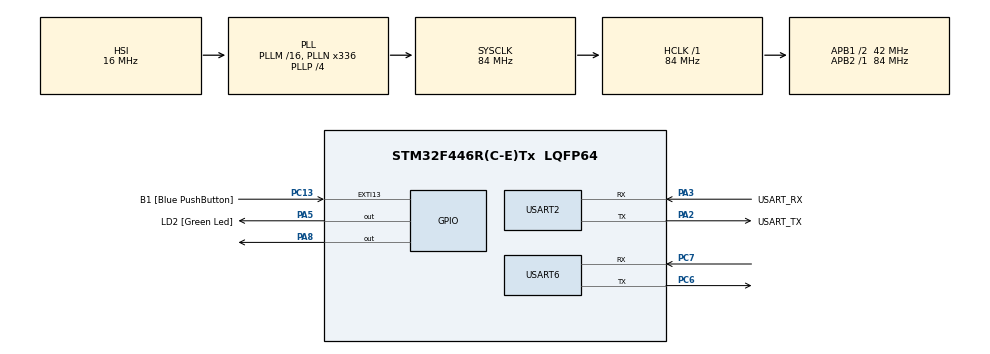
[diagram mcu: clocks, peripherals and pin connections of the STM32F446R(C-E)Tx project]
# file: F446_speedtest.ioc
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Mcu.Family=STM32F4
Mcu.Name=STM32F446R(C-E)Tx
Mcu.Package=LQFP64
NVIC.PriorityGroup=NVIC_PRIORITYGROUP_0
PA13.GPIO_Label=TMS
PA13.Mode=Serial_Wire
PA13.Signal=SYS_JTMS-SWDIO
PA14.GPIO_Label=TCK
PA14.Mode=Serial_Wire
PA14.Signal=SYS_JTCK-SWCLK
PA2.GPIO_Label=USART_TX
PA2.Mode=Asynchronous
PA2.Signal=USART2_TX
PA3.GPIO_Label=USART_RX
PA3.Mode=Asynchronous
PA3.Signal=USART2_RX
PA5.GPIO_Label=LD2 [Green Led]
PA5.Signal=GPIO_Output
PA8.Signal=GPIO_Output
PB3.GPIO_Label=SWO
PB3.Signal=SYS_JTDO-SWO
PC13.GPIO_Label=B1 [Blue PushButton]
PC13.GPIO_ModeDefaultEXTI=GPIO_MODE_IT_FALLING
PC13.Signal=GPXTI13
PC14-OSC32_IN.Mode=LSE-External-Oscillator
PC14-OSC32_IN.Signal=RCC_OSC32_IN
PC15-OSC32_OUT.Mode=LSE-External-Oscillator
PC15-OSC32_OUT.Signal=RCC_OSC32_OUT
PC6.Mode=Asynchronous
PC6.Signal=USART6_TX
PC7.Mode=Asynchronous
PC7.Signal=USART6_RX
PH0-OSC_IN.Mode=HSE-External-Oscillator
PH0-OSC_IN.Signal=RCC_OSC_IN
PH1-OSC_OUT.Mode=HSE-External-Oscillator
PH1-OSC_OUT.Signal=RCC_OSC_OUT
ProjectManager.HeapSize=0x200
ProjectManager.StackSize=0x400
ProjectManager.TargetToolchain=STM32CubeIDE
RCC.48MHZClocksFreq_Value=84000000
RCC.AHBFreq_Value=84000000
RCC.APB1CLKDivider=RCC_HCLK_DIV2
RCC.APB1Freq_Value=42000000
RCC.APB1TimFreq_Value=84000000
RCC.APB2Freq_Value=84000000
RCC.APB2TimFreq_Value=84000000
RCC.CortexFreq_Value=84000000
RCC.FLatency-AdvancedSettings=FLASH_LATENCY_2
RCC.HCLKFreq_Value=84000000
RCC.HSE_VALUE=8000000
RCC.HSI_VALUE=16000000
RCC.PLLN=336
RCC.PLLP=RCC_PLLP_DIV4
RCC.SYSCLKFreq_VALUE=84000000
RCC.SYSCLKSource=RCC_SYSCLKSOURCE_PLLCLK
RCC.USBFreq_Value=168000000
RCC.VCOOutputFreq_Value=336000000
USART2.VirtualMode=VM_ASYNC
USART6.VirtualMode=VM_ASYNC
board=NUCLEO-F446RE

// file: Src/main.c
/* USER CODE BEGIN Header */
/**
  ******************************************************************************
  * @file           : main.c
  * @brief          : Main program body
  ******************************************************************************
  * @attention
  *
  * <h2><center>&copy; Copyright (c) 2019 STMicroelectronics.
  * All rights reserved.</center></h2>
  *
  * This software component is licensed by ST under BSD 3-Clause license,
  * the "License"; You may not use this file except in compliance with the
  * License. You may obtain a copy of the License at:
  *                        opensource.org/licenses/BSD-3-Clause
  *
  ******************************************************************************
  */
/* USER CODE END Header */

#include "main.h"

UART_HandleTypeDef huart2;
UART_HandleTypeDef huart6;

void SystemClock_Config(void);
static void MX_GPIO_Init(void);
static void MX_USART2_UART_Init(void);
static void MX_USART6_UART_Init(void);

int main(void)
{

  /* MCU Configuration--------------------------------------------------------*/

  /* Reset of all peripherals, Initializes the Flash interface and the Systick. */
  HAL_Init();

  /* Configure the system clock */
  SystemClock_Config();

  /* Initialize all configured peripherals */
  MX_GPIO_Init();
  MX_USART2_UART_Init();
  MX_USART6_UART_Init();
  /* USER CODE BEGIN 2 */

  uint8_t txdata[9] = {0};
  uint8_t txdata2[7] = {0};
  uint8_t rxdata[9] = {0};
  char txbuf[] ="\n\r hello world";
  short x;

  void pos(unsigned char id,short deg,unsigned short time)
  {
    unsigned char deg_l = (unsigned char)(deg)&0x00FF;
    unsigned char deg_h = (unsigned char)(deg>>8)&0x00FF;
    unsigned char time_l = (unsigned char)(time)&0x00FF;
    unsigned char time_h = (unsigned char)(time>>8)&0x00FF;
    unsigned char sum = (0x09+0x06+id+deg_l+deg_h+time_l+time_h)&0x00FF;

    txdata[0]=0x09;   //1 SIZE
    txdata[1]=0x06;   //2 COMMAND
    txdata[2]=0x00;   //3 OPTION
    txdata[3]=id;     //4 ID
    txdata[4]=deg_l;  //5 POS_L
    txdata[5]=deg_h;  //6 POS_H
    txdata[6]=time_l; //7 TIME_L
    txdata[7]=time_h; //8 TIME_H
    txdata[8]=sum;    //9 SUM
    HAL_Delay(0.03);

  }

  void write(unsigned char id,unsigned char data)
  {
      unsigned char sum = (0x08+0x04+0x00+id+data+0x28+0x01)&0x00FF;
     HAL_GPIO_WritePin(GPIOA, GPIO_PIN_8, 1);
     txdata[0]=0x08;   //1 SIZE
     txdata[1]=0x04;   //2 COMMAND
     txdata[2]=0x00;   //3 OPTION
     txdata[3]=id;     //4 ID
     txdata[4]=data;  //DATA
     txdata[5]=0x28;  //ADRESS
     txdata[6]=0x01; //COUNT
     txdata[7]=sum;    //9 SUM
     HAL_UART_Transmit(&huart6, txdata, 8, 0xFFFF);
     HAL_Delay(0.3);
     HAL_GPIO_WritePin(GPIOA, GPIO_PIN_8, 0);
  }

  void speed(unsigned char id,short speed)
  {
      unsigned char speed_l = (unsigned char)(speed)&0x00FF;
      unsigned char speed_h = (unsigned char)(speed>>8)&0x00FF;
      unsigned char sum = (0x09+0x04+0x00+id+speed_l+speed_h+0x30+0x01)&0x00FF;

      HAL_GPIO_WritePin(GPIOA, GPIO_PIN_8, 1);

      txdata[0]=0x09;//SIZE
      txdata[1]=0x04;//COMMAND
      txdata[2]=0x00;//OPTION
      txdata[3]=id;//ID
      txdata[4]=speed_l;//SPEED_LOWBYTE
      txdata[5]=speed_h;//SPEED_HIGHBYTE
      txdata[6]=0x30;//ADRESS(SPEED 0x03)
      txdata[7]=0x01;//COUNT
      txdata[8]=sum;//SUM
      HAL_Delay(0.3);
      HAL_UART_Transmit(&huart6, txdata, 9, 0xFFFF);
      HAL_Delay(0.3);
      HAL_GPIO_WritePin(GPIOA, GPIO_PIN_8, 0);
  }

  void gain(unsigned char id,unsigned char gain)
  {

      unsigned char sum = (0x08+0x04+id+gain+0x5C+0x01)&0x00FF;
      HAL_GPIO_WritePin(GPIOA, GPIO_PIN_8, 1);
      txdata[0]=0x08;   //1 SIZE
      txdata[1]=0x04;   //2 COMMAND
      txdata[2]=0x00;   //3 OPTION
      txdata[3]=id;     //4 ID
      txdata[4]=gain;  //DATA
      txdata[5]=0x5C;  //ADRESS
      txdata[6]=0x01; //COUNT
      txdata[7]=sum;    //9 SUM
      HAL_UART_Transmit(&huart6, txdata, 8, 0xFFFF);
      HAL_Delay(0.3);
      HAL_GPIO_WritePin(GPIOA, GPIO_PIN_8, 0);
  }

  /* USER CODE END 2 */

  /* Infinite loop */
  while (1)
  {

    /* USER CODE BEGIN 3 */
  write(0x02,0x04);
  write(0x08,0x04);
  speed(0x02,-5000);
  speed(0x08,5000);
	 // write(0xFF,0x02);
//	  write(0xFF,0x00);
//	  HAL_Delay(1000);

/*	  pos(0x04,3000,0);
	  HAL_GPIO_WritePin(GPIOA, GPIO_PIN_8, 1);
	  HAL_UART_Transmit(&huart6, txdata, 9, 0xFFFF);
	  HAL_Delay(100);
	  HAL_GPIO_WritePin(GPIOA, GPIO_PIN_8, 0);
	  HAL_Delay(1000);

	  pos(0x04,-3000,0);
	  HAL_GPIO_WritePin(GPIOA, GPIO_PIN_8, 1);
	  HAL_UART_Transmit(&huart6, txdata, 9, 0xFFFF);
	  HAL_Delay(100);
	  HAL_GPIO_WritePin(GPIOA, GPIO_PIN_8, 0);
	  HAL_Delay(1000);
*/
  }
  /* USER CODE END 3 */
}

void SystemClock_Config(void)
{
  RCC_OscInitTypeDef RCC_OscInitStruct = {0};
  RCC_ClkInitTypeDef RCC_ClkInitStruct = {0};

  /** Configure the main internal regulator output voltage
  */
  __HAL_RCC_PWR_CLK_ENABLE();
  __HAL_PWR_VOLTAGESCALING_CONFIG(PWR_REGULATOR_VOLTAGE_SCALE3);
  /** Initializes the CPU, AHB and APB busses clocks
  */
  RCC_OscInitStruct.OscillatorType = RCC_OSCILLATORTYPE_HSI;
  RCC_OscInitStruct.HSIState = RCC_HSI_ON;
  RCC_OscInitStruct.HSICalibrationValue = RCC_HSICALIBRATION_DEFAULT;
  RCC_OscInitStruct.PLL.PLLState = RCC_PLL_ON;
  RCC_OscInitStruct.PLL.PLLSource = RCC_PLLSOURCE_HSI;
  RCC_OscInitStruct.PLL.PLLM = 16;
  RCC_OscInitStruct.PLL.PLLN = 336;
  RCC_OscInitStruct.PLL.PLLP = RCC_PLLP_DIV4;
  RCC_OscInitStruct.PLL.PLLQ = 2;
  RCC_OscInitStruct.PLL.PLLR = 2;
  if (HAL_RCC_OscConfig(&RCC_OscInitStruct) != HAL_OK)
  {
    Error_Handler();
  }
  /** Initializes the CPU, AHB and APB busses clocks
  */
  RCC_ClkInitStruct.ClockType = RCC_CLOCKTYPE_HCLK|RCC_CLOCKTYPE_SYSCLK
                              |RCC_CLOCKTYPE_PCLK1|RCC_CLOCKTYPE_PCLK2;
  RCC_ClkInitStruct.SYSCLKSource = RCC_SYSCLKSOURCE_PLLCLK;
  RCC_ClkInitStruct.AHBCLKDivider = RCC_SYSCLK_DIV1;
  RCC_ClkInitStruct.APB1CLKDivider = RCC_HCLK_DIV2;
  RCC_ClkInitStruct.APB2CLKDivider = RCC_HCLK_DIV1;

  if (HAL_RCC_ClockConfig(&RCC_ClkInitStruct, FLASH_LATENCY_2) != HAL_OK)
  {
    Error_Handler();
  }
}

static void MX_USART2_UART_Init(void)
{

  huart2.Instance = USART2;
  huart2.Init.BaudRate = 115200;
  huart2.Init.WordLength = UART_WORDLENGTH_8B;
  huart2.Init.StopBits = UART_STOPBITS_1;
  huart2.Init.Parity = UART_PARITY_NONE;
  huart2.Init.Mode = UART_MODE_TX_RX;
  huart2.Init.HwFlowCtl = UART_HWCONTROL_NONE;
  huart2.Init.OverSampling = UART_OVERSAMPLING_16;
  if (HAL_UART_Init(&huart2) != HAL_OK)
  {
    Error_Handler();
  }

}

static void MX_USART6_UART_Init(void)
{

  huart6.Instance = USART6;
  huart6.Init.BaudRate = 115200;
  huart6.Init.WordLength = UART_WORDLENGTH_8B;
  huart6.Init.StopBits = UART_STOPBITS_1;
  huart6.Init.Parity = UART_PARITY_NONE;
  huart6.Init.Mode = UART_MODE_TX_RX;
  huart6.Init.HwFlowCtl = UART_HWCONTROL_NONE;
  huart6.Init.OverSampling = UART_OVERSAMPLING_16;
  if (HAL_UART_Init(&huart6) != HAL_OK)
  {
    Error_Handler();
  }

}

static void MX_GPIO_Init(void)
{
  GPIO_InitTypeDef GPIO_InitStruct = {0};

  /* GPIO Ports Clock Enable */
  __HAL_RCC_GPIOC_CLK_ENABLE();
  __HAL_RCC_GPIOH_CLK_ENABLE();
  __HAL_RCC_GPIOA_CLK_ENABLE();
  __HAL_RCC_GPIOB_CLK_ENABLE();

  /*Configure GPIO pin Output Level */
  HAL_GPIO_WritePin(GPIOA, LD2_Pin|GPIO_PIN_8, GPIO_PIN_RESET);

  /*Configure GPIO pin : B1_Pin */
  GPIO_InitStruct.Pin = B1_Pin;
  GPIO_InitStruct.Mode = GPIO_MODE_IT_FALLING;
  GPIO_InitStruct.Pull = GPIO_NOPULL;
  HAL_GPIO_Init(B1_GPIO_Port, &GPIO_InitStruct);

  /*Configure GPIO pins : LD2_Pin PA8 */
  GPIO_InitStruct.Pin = LD2_Pin|GPIO_PIN_8;
  GPIO_InitStruct.Mode = GPIO_MODE_OUTPUT_PP;
  GPIO_InitStruct.Pull = GPIO_NOPULL;
  GPIO_InitStruct.Speed = GPIO_SPEED_FREQ_LOW;
  HAL_GPIO_Init(GPIOA, &GPIO_InitStruct);

}

void Error_Handler(void)
{
}

/************************ (C) COPYRIGHT STMicroelectronics *****END OF FILE****/
